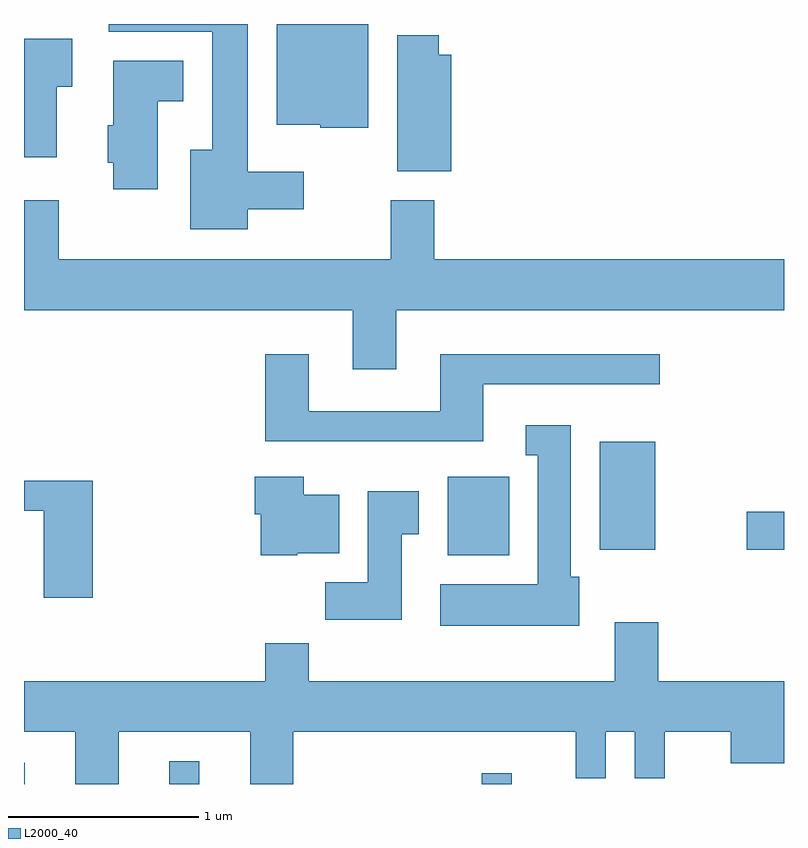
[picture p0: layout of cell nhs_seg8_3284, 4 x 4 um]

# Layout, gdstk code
import gdstk
lib = gdstk.Library(unit=1e-6, precision=1e-09)
def R(c, l, rs):  # rectangles x0, y0, x1, y1
    for r in rs: c.add(gdstk.rectangle(r[:2], r[2:], *l))
def P(c, l, *ps):  # polygons
    for p in ps: c.add(gdstk.Polygon(p, *l))
L2000_40 = (2000, 40)

nhs_seg8_3284 = lib.new_cell('nhs_seg8_3284')
R(nhs_seg8_3284, L2000_40, [(283.611,1858.342,283.614,1858.454), (284.376,1858.342,284.534,1858.463), (286.021,1858.342,286.179,1858.398), (285.841,1859.546,286.164,1859.959), (286.641,1859.576,286.934,1860.144), (287.416,1859.576,287.611,1859.774)])
P(nhs_seg8_3284, L2000_40, [(285.424,1862.342),(284.941,1862.342),(284.941,1861.811),(285.17,1861.811),(285.17,1861.796),(285.424,1861.796)],
  [(284.789,1861.366),(285.084,1861.366),(285.084,1861.564),(284.789,1861.564),(284.789,1862.342),(284.056,1862.342),(284.056,1862.301),(284.601,1862.301),(284.601,1861.679),(284.486,1861.679),(284.486,1861.261),(284.789,1861.261)],
  [(285.859,1862.179),(285.794,1862.179),(285.794,1862.284),(285.576,1862.284),(285.576,1861.566),(285.859,1861.566)],
  [(283.784,1862.011),(283.864,1862.011),(283.864,1862.264),(283.611,1862.264),(283.611,1861.641),(283.784,1861.641)],
  [(284.314,1861.936),(284.449,1861.936),(284.449,1862.149),(284.081,1862.149),(284.081,1861.809),(284.051,1861.809),(284.051,1861.611),(284.081,1861.611),(284.081,1861.471),(284.314,1861.471)],
  [(285.569,1860.836),(287.611,1860.836),(287.611,1861.104),(285.769,1861.104),(285.769,1861.414),(285.541,1861.414),(285.541,1861.104),(283.794,1861.104),(283.794,1861.414),(283.611,1861.414),(283.611,1860.836),(285.341,1860.836),(285.341,1860.526),(285.569,1860.526)],
  [(286.029,1860.446),(286.958,1860.446),(286.958,1860.604),(285.801,1860.604),(285.801,1860.304),(285.109,1860.304),(285.109,1860.604),(284.881,1860.604),(284.881,1860.146),(286.029,1860.146)],
  [(286.534,1859.434),(286.489,1859.434),(286.489,1860.229),(286.253,1860.229),(286.253,1860.071),(286.316,1860.071),(286.316,1859.394),(285.801,1859.394),(285.801,1859.176),(286.534,1859.176)],
  [(285.05,1859.556),(285.269,1859.556),(285.269,1859.864),(285.084,1859.864),(285.084,1859.959),(284.826,1859.959),(284.826,1859.761),(284.856,1859.761),(284.856,1859.546),(285.05,1859.546)],
  [(283.974,1859.939),(283.611,1859.939),(283.611,1859.781),(283.716,1859.781),(283.716,1859.321),(283.974,1859.321)],
  [(285.599,1859.656),(285.689,1859.656),(285.689,1859.884),(285.421,1859.884),(285.421,1859.404),(285.196,1859.404),(285.196,1859.206),(285.599,1859.206)],
  [(284.109,1858.616),(284.801,1858.616),(284.801,1858.342),(285.029,1858.342),(285.029,1858.616),(286.516,1858.616),(286.516,1858.373),(286.674,1858.373),(286.674,1858.616),(286.826,1858.616),(286.826,1858.373),(286.984,1858.373),(286.984,1858.616),(287.331,1858.616),(287.331,1858.451),(287.611,1858.451),(287.611,1858.884),(286.949,1858.884),(286.949,1859.194),(286.721,1859.194),(286.721,1858.884),(285.109,1858.884),(285.109,1859.084),(284.881,1859.084),(284.881,1858.884),(283.611,1858.884),(283.611,1858.616),(283.881,1858.616),(283.881,1858.342),(284.109,1858.342)])

lib.write_gds('nhs_seg8_3284.gds')
